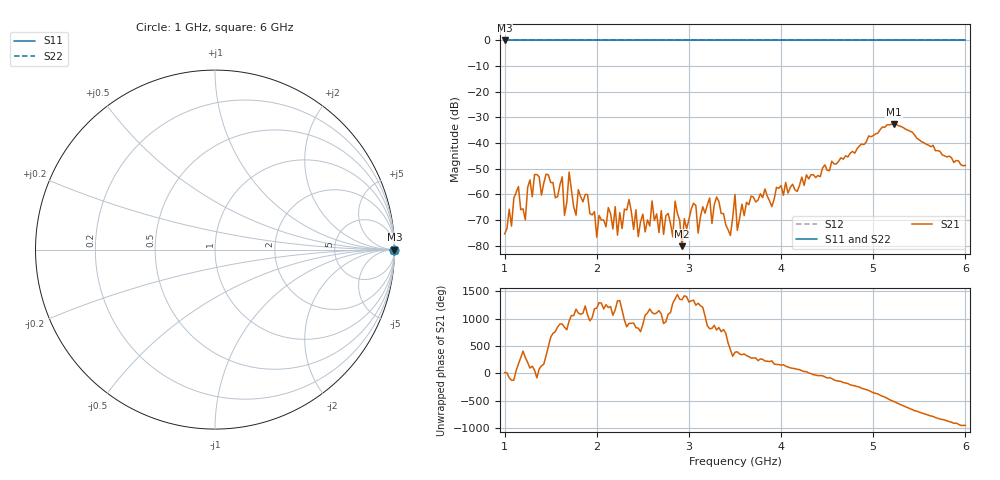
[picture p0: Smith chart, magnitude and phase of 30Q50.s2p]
!Keysight Technologies N9926A: A.08.19
!Date: Sunday, 01 March 2026 14:12:02
!Timezone: (GMT-06:00) Central Time (US & Canada)
!Model: N9926A
!Serial: MY53102721
!GPS Latitude:
!GPS Longitude:
!GPS TimeStamp: 0001-01-01 00:00:00Z
!GPS Seconds Since Last Read: 0
!CHECKSUM:0828978690
!Correction: S11()S21(ON U)S12()S22()
!S2P File: Measurements:S11,S21,S12,S22:
# Hz S DB R 50
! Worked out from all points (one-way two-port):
!   201 points, 1 GHz to 6 GHz, reference 50 ohm
!   highest |S21| = -32.65 dB at 5.225 GHz (marker M1); lowest = -80.2 dB at 2.925 GHz (marker M2)
!   lowest |S11| = 0.0 dB at 1 GHz (marker M3)
!   |S11| at or under -10 dB: nowhere
!   |S22| runs from 0.0 to 0.0 dB; largest |S21 - S12| = 1
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1e9  0.00 0.0  -75.38 15.2  0.00 0.0  0.00 0.0
1.15e9  0.00 0.0  -56.91 173.0  0.00 0.0  0.00 0.0
1.225e9  0.00 0.0  -69.95 -70.6  0.00 0.0  0.00 0.0
1.325e9  0.00 0.0  -52.25 58.4  0.00 0.0  0.00 0.0
1.85e9  0.00 0.0  -62.89 19.5  0.00 0.0  0.00 0.0
2e9  0.00 0.0  -76.68 114.6  0.00 0.0  0.00 0.0
2.35e9  0.00 0.0  -61.98 -166.4  0.00 0.0  0.00 0.0
2.45e9  0.00 0.0  -76.43 106.9  0.00 0.0  0.00 0.0
2.6e9  0.00 0.0  -62.52 32.4  0.00 0.0  0.00 0.0
2.675e9  0.00 0.0  -74.87 67.4  0.00 0.0  0.00 0.0
2.825e9  0.00 0.0  -76.53 -156.9  0.00 0.0  0.00 0.0
2.85e9  0.00 0.0  -62.58 -77.8  0.00 0.0  0.00 0.0
2.925e9  0.00 0.0  -80.16 -94.1  0.00 0.0  0.00 0.0
3.225e9  0.00 0.0  -61.38 96.5  0.00 0.0  0.00 0.0
3.45e9  0.00 0.0  -75.97 74.9  0.00 0.0  0.00 0.0
3.5e9  0.00 0.0  -59.99 27.7  0.00 0.0  0.00 0.0
3.525e9  0.00 0.0  -74.01 34.3  0.00 0.0  0.00 0.0
3.675e9  0.00 0.0  -60.61 -79.4  0.00 0.0  0.00 0.0
4.35e9  0.00 0.0  -52.29 -23.2  0.00 0.0  0.00 0.0
5.175e9  0.00 0.0  -32.83 -117.5  0.00 0.0  0.00 0.0
5.225e9  0.00 0.0  -32.65 -154.4  0.00 0.0  0.00 0.0
6e9  0.00 0.0  -48.68 131.4  0.00 0.0  0.00 0.0
